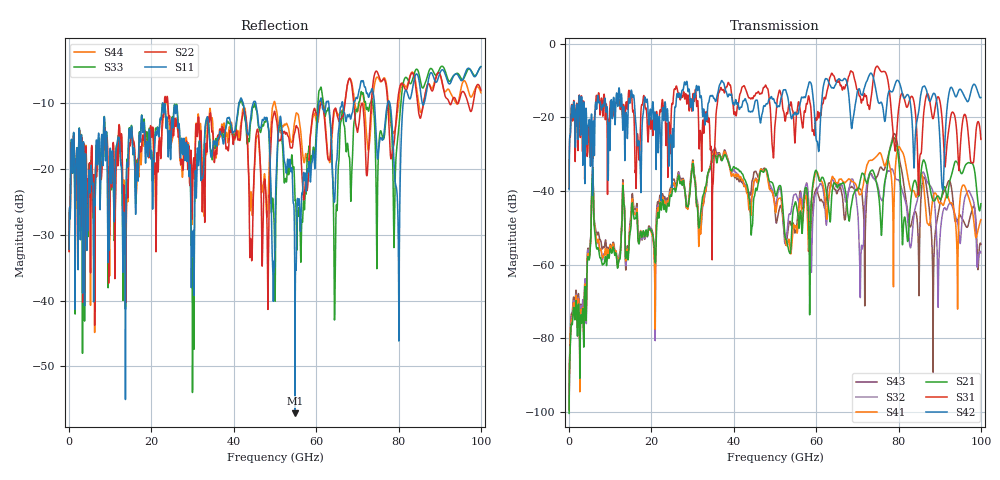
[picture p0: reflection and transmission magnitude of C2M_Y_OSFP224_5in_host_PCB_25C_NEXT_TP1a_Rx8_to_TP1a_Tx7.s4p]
# GHz S RI R 45
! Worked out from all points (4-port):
!   4000 points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, 25 MHz to 100 GHz, reference 45 ohm
!   strongest paths, dB at 25 MHz, 25.02 GHz, 50.02 GHz, 75.03 GHz, 100 GHz:
!     S42: -39.6, -29.2, -16.0, -15.6, -14.6
!     S31: -39.3, -16.1, -21.9, -6.2, -26.0
!     S21: -100.5, -40.2, -40.7, -39.9, -43.5
!     S41: -99.5, -38.5, -45.0, -30.1, -47.8
!     S32: -98.6, -39.1, -43.6, -38.8, -56.9
!     S43: -97.9, -37.4, -45.4, -35.5, -54.5
!   lowest |S11| = -57.1 dB at 54.88 GHz (marker M1), VSWR 1.00, Z = 45.1 - j0.0577 ohm
!   |S11| at or under -10 dB: start of sweep to 41.31 GHz; 45.31 GHz to 60.66 GHz (15.35 GHz wide, 29 % of centre); 77.86 GHz to 81.14 GHz (3.28 GHz wide, 4.13 % of centre) (the widest 3 of 9)
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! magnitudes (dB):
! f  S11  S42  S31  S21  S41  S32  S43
! 25 MHz  -32.2  -39.6  -39.3  -100.5  -99.5  -98.6  -97.9
! 5.85 GHz  -24.0  -23.8  -30.5  -36.7  -36.3  -36.6  -36.1
! 54.88 GHz  -57.1  -18.6  -26.5  -43.2  -49.9  -40.9  -51.4
! 79 GHz  -20.6  -11.6  -27.5  -25.5  -39.7  -35.7  -24.4
! 82.1 GHz  -8.4  -13.8  -17.2  -52.9  -35.1  -45.9  -44.5
! 90.67 GHz  -5.0  -39.4  -21.7  -40.4  -43.7  -46.2  -41.1
! 100 GHz  -4.5  -14.6  -26.0  -43.5  -47.8  -56.9  -54.5
